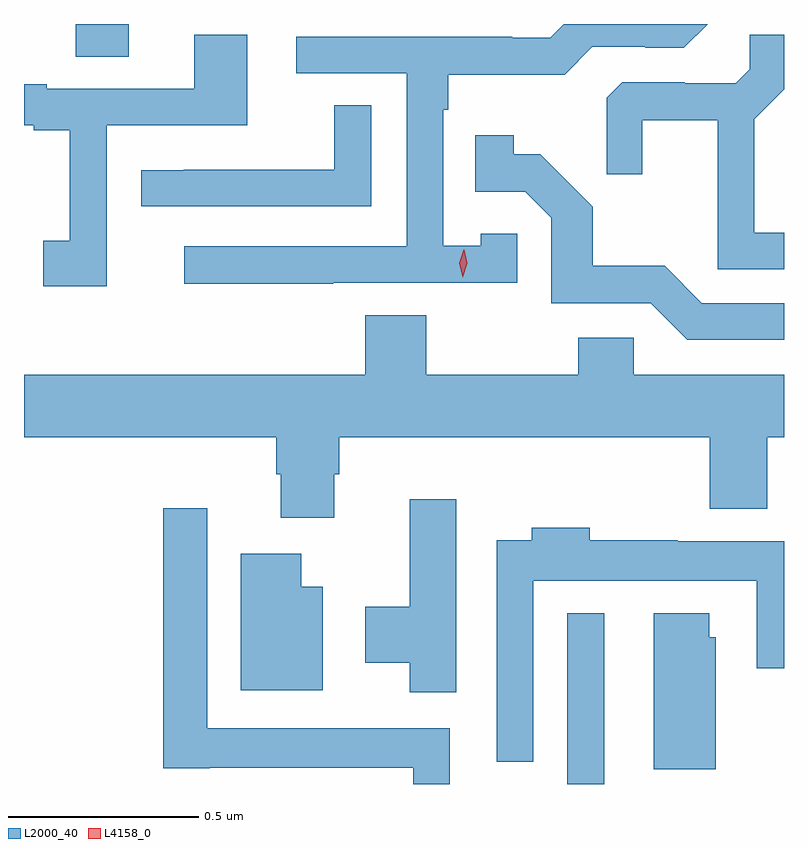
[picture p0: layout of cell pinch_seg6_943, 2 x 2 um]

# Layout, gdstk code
import gdstk
lib = gdstk.Library(unit=1e-6, precision=1e-09)
def R(c, l, rs):  # rectangles x0, y0, x1, y1
    for r in rs: c.add(gdstk.rectangle(r[:2], r[2:], *l))
def P(c, l, *ps):  # polygons
    for p in ps: c.add(gdstk.Polygon(p, *l))
L2000_40 = (2000, 40)
L4158_0 = (4158, 0)

pinch_seg6_943 = lib.new_cell('pinch_seg6_943')
R(pinch_seg6_943, L2000_40, [(206.625,954.415,206.722,954.865), (205.331,956.329,205.471,956.415)])
P(pinch_seg6_943, L2000_40, [(206.009,955.734),(206.493,955.734),(206.493,955.863),(206.397,955.863),(206.397,955.831),(206.298,955.831),(206.298,956.189),(206.311,956.189),(206.311,956.282),(206.618,956.282),(206.691,956.355),(206.83,956.355),(206.83,956.352),(206.931,956.352),(206.994,956.415),(206.616,956.415),(206.58,956.379),(206.48,956.379),(206.48,956.382),(205.911,956.382),(205.911,956.286),(206.202,956.286),(206.202,955.83),(205.617,955.83),(205.617,955.732),(206.009,955.732)],
  [(207.195,955.866),(207.117,955.866),(207.117,956.165),(207.195,956.243),(207.195,956.387),(207.105,956.387),(207.105,956.296),(207.068,956.259),(206.934,956.259),(206.934,956.262),(206.769,956.262),(206.728,956.221),(206.728,956.019),(206.822,956.019),(206.822,956.162),(207.02,956.162),(207.02,955.77),(207.195,955.77)],
  [(205.413,956.148),(205.783,956.148),(205.783,956.387),(205.643,956.387),(205.643,956.244),(205.255,956.244),(205.255,956.257),(205.195,956.257),(205.195,956.148),(205.22,956.148),(205.22,956.136),(205.316,956.136),(205.316,955.845),(205.245,955.845),(205.245,955.725),(205.413,955.725)],
  [(206.109,956.201),(206.011,956.201),(206.011,956.031),(205.615,956.031),(205.615,956.03),(205.503,956.03),(205.503,955.935),(206.109,955.935)],
  [(207.195,955.68),(206.979,955.68),(206.881,955.779),(206.692,955.779),(206.692,955.934),(206.554,956.072),(206.484,956.072),(206.484,956.122),(206.383,956.122),(206.383,955.974),(206.514,955.974),(206.583,955.905),(206.583,955.68),(206.844,955.68),(206.94,955.584),(207.195,955.584)],
  [(206.011,955.23),(206.024,955.23),(206.024,955.328),(206.999,955.328),(206.999,955.139),(207.151,955.139),(207.151,955.328),(207.195,955.328),(207.195,955.492),(206.799,955.492),(206.799,955.59),(206.653,955.59),(206.653,955.492),(206.253,955.492),(206.253,955.649),(206.093,955.649),(206.093,955.492),(205.195,955.492),(205.195,955.328),(205.859,955.328),(205.859,955.23),(205.871,955.23),(205.871,955.116),(206.011,955.116)],
  [(206.332,955.165),(206.21,955.165),(206.21,954.882),(206.093,954.882),(206.093,954.734),(206.21,954.734),(206.21,954.657),(206.332,954.657)],
  [(206.316,954.562),(205.677,954.562),(205.677,955.141),(205.561,955.141),(205.561,954.456),(205.684,954.456),(205.684,954.458),(206.219,954.458),(206.219,954.415),(206.316,954.415)],
  [(206.535,954.95),(207.123,954.95),(207.123,954.72),(207.195,954.72),(207.195,955.054),(206.915,955.054),(206.915,955.057),(206.684,955.057),(206.684,955.09),(206.531,955.09),(206.531,955.057),(206.439,955.057),(206.439,954.473),(206.535,954.473)],
  [(205.981,954.934),(205.924,954.934),(205.924,955.021),(205.766,955.021),(205.766,954.662),(205.981,954.662)],
  [(207.016,954.801),(206.998,954.801),(206.998,954.865),(206.852,954.865),(206.852,954.454),(207.016,954.454)])
P(pinch_seg6_943, L4158_0, [(206.35,955.749),(206.35,955.749),(206.341,955.786),(206.352,955.821),(206.352,955.821),(206.353,955.821),(206.361,955.785),(206.35,955.749)])

lib.write_gds('pinch_seg6_943.gds')
